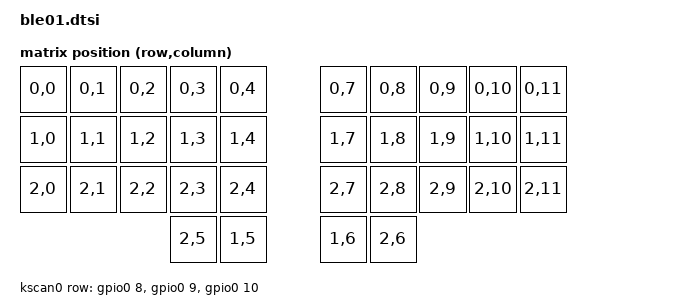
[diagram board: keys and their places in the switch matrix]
#include <dt-bindings/zmk/matrix_transform.h>
#include "ble-layouts.dtsi"
#include "cirque_central.dtsi"

&ble_layout {
    transform = <&default_transform>;
};

/ {
    glidepoint_listener: glidepoint_listener {
        compatible = "zmk,input-listener";
        status = "disabled";
    };
};

&uart0 {
    status = "okay";
};

/ {
    chosen { 
        zmk,kscan = &kscan0;
        zmk,physical-layout = &ble_layout;
    };
    
    default_transform: keymap_transform_0 {
        compatible = "zmk,matrix-transform";
        columns = <12>;
        rows = <3>;
// | SW1  | SW2  | SW3  | SW4  | SW5  |   | SW1  | SW2  | SW3  | SW4  | SW5  |
// | SW7  | SW8  | SW9  | SW10 | SW11 |   | SW7  | SW8  | SW9  | SW10 | SW11 |
// | SW13 | SW14 | SW15 | SW16 | SW17 |   | SW13 | SW14 | SW15 | SW16 | SW17 |
//                      | SW18 | SW12 |   | SW12 | SW18 |
        map = <
RC(0,0) RC(0,1) RC(0,2) RC(0,3) RC(0,4)  RC(0,7) RC(0,8) RC(0,9) RC(0,10) RC(0,11) 
RC(1,0) RC(1,1) RC(1,2) RC(1,3) RC(1,4)  RC(1,7) RC(1,8) RC(1,9) RC(1,10) RC(1,11) 
RC(2,0) RC(2,1) RC(2,2) RC(2,3) RC(2,4)  RC(2,7) RC(2,8) RC(2,9) RC(2,10) RC(2,11) 
                        RC(2,5) RC(1,5)  RC(1,6) RC(2,6)
        >;
    };

    kscan0: kscan {
        compatible = "zmk,kscan-gpio-matrix";
        wakeup-source;

        diode-direction = "col2row";
        row-gpios
            = <&gpio0 8  (GPIO_ACTIVE_HIGH | GPIO_PULL_DOWN)>
            , <&gpio0 9  (GPIO_ACTIVE_HIGH | GPIO_PULL_DOWN)>
            , <&gpio0 10  (GPIO_ACTIVE_HIGH | GPIO_PULL_DOWN)>
            ;

    }; 

};
